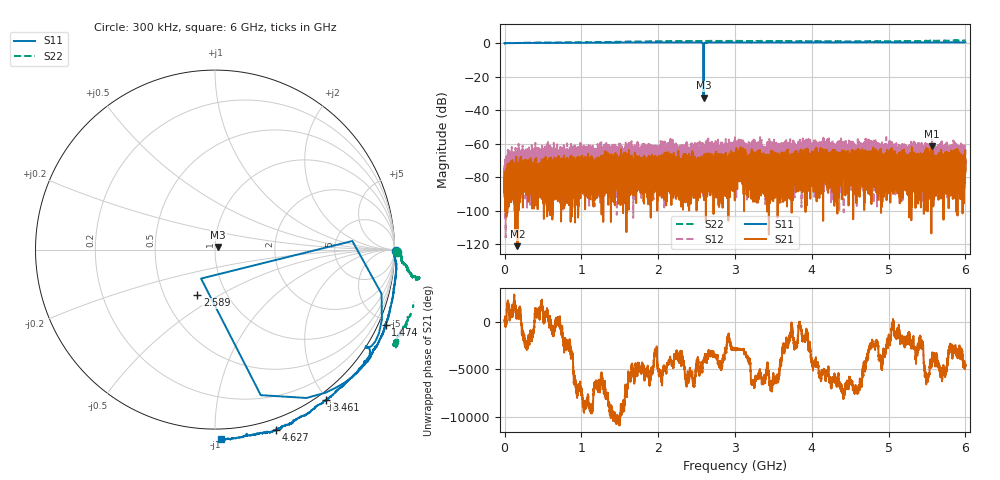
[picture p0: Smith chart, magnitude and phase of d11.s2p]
!Agilent Technologies,N5230C,SG49000117,A.08.50.07
!Agilent N5230C: A.08.50.07
!Date: Thursday, May 16, 2024 19:35:05
!Correction: S11(Full 2 Port(1,2))
!S21(Full 2 Port(1,2))
!S12(Full 2 Port(1,2))
!S22(Full 2 Port(1,2))
!S2P File: Measurements: S11, S21, S12, S22:
# Hz S  MA  R 50
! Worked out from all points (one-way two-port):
!   20001 points, 300 kHz to 6 GHz, reference 50 ohm
!   highest |S21| = -61.53 dB at 5.559 GHz (marker M1); lowest = -121.1 dB at 168 MHz (marker M2)
!   lowest |S11| = -32.6 dB at 2.59 GHz (marker M3), VSWR 1.05, Z = 51.8 + j1.54 ohm
!   |S11| at or under -10 dB: 2.58931 GHz to 2.591259 GHz (1.949 MHz wide, 0.0752 % of centre)
!   |S22| runs from -0.3 to 1.6 dB; largest |S21 - S12| = 0.0018
!   S11 on the Smith chart (normalised r, x): 300 kHz: open; 1.474 GHz: -0.45, -4.69; 2.589 GHz: 0.73, -0.40; 3.461 GHz: -0.10, -1.98; 4.627 GHz: -0.08, -1.39; 6 GHz: -0.06, -1.03
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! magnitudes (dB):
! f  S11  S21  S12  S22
! 300 kHz  0.1  -80.3  -75.3  0.1
! 168 MHz  0.0  -121.1  -66.7  0.1
! 1 GHz  0.2  -76.1  -72.4  0.5
! 1.474 GHz  0.3  -76.1  -70.1  0.8
! 1.617 GHz  0.4  -71.0  -73.0  0.9
! 2 GHz  0.4  -86.8  -76.1  1.1
! 2.149 GHz  0.4  -69.4  -68.0  1.2
! 2.29 GHz  0.4  -81.7  -69.1  1.2
! 2.589 GHz  -11.3  -81.6  -77.5  1.3
! 2.59 GHz  -32.6  -78.2  -71.9  1.3
! 2.918 GHz  0.4  -69.9  -74.0  1.3
! 3 GHz  0.3  -69.4  -62.4  1.3
! 3.074 GHz  0.3  -68.8  -64.7  1.3
! 3.163 GHz  0.3  -68.4  -61.6  1.3
! 3.241 GHz  0.3  -66.6  -61.3  1.3
! 3.461 GHz  0.4  -73.0  -66.0  1.2
! 4 GHz  0.4  -67.1  -70.3  1.2
! 4.627 GHz  0.5  -73.2  -67.4  1.1
! 5 GHz  0.5  -80.5  -65.8  1.1
! 5.147 GHz  0.5  -71.9  -62.6  1.2
! 5.559 GHz  0.4  -61.5  -68.4  1.4
! 6 GHz  0.5  -76.1  -65.8  1.5
